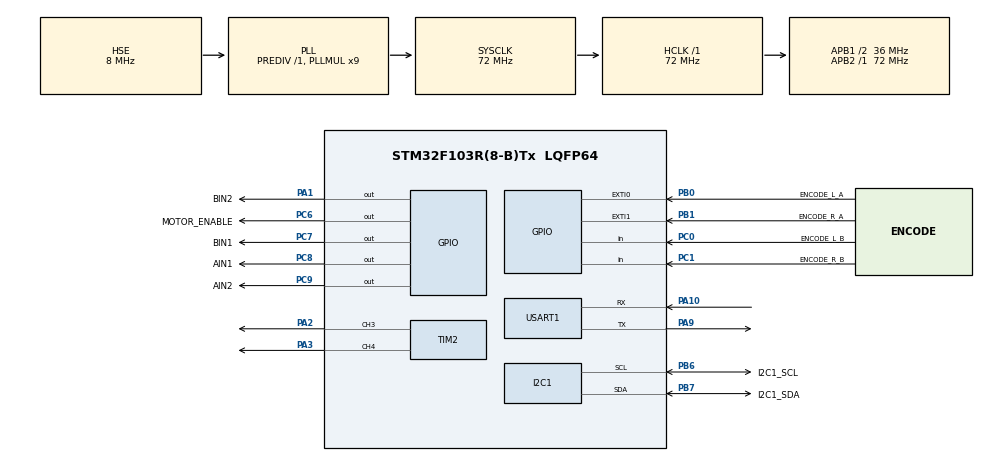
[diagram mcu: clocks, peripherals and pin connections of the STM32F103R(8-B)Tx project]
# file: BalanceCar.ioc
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Dma.Request0=USART1_RX
Dma.Request1=USART1_TX
Dma.USART1_RX.0.Direction=DMA_PERIPH_TO_MEMORY
Dma.USART1_RX.0.Instance=DMA1_Channel5
Dma.USART1_RX.0.MemDataAlignment=DMA_MDATAALIGN_BYTE
Dma.USART1_RX.0.MemInc=DMA_MINC_ENABLE
Dma.USART1_RX.0.Mode=DMA_NORMAL
Dma.USART1_RX.0.PeriphDataAlignment=DMA_PDATAALIGN_BYTE
Dma.USART1_RX.0.PeriphInc=DMA_PINC_DISABLE
Dma.USART1_RX.0.Priority=DMA_PRIORITY_LOW
Dma.USART1_TX.1.Direction=DMA_MEMORY_TO_PERIPH
Dma.USART1_TX.1.Instance=DMA1_Channel4
Dma.USART1_TX.1.MemDataAlignment=DMA_MDATAALIGN_BYTE
Dma.USART1_TX.1.MemInc=DMA_MINC_ENABLE
Dma.USART1_TX.1.Mode=DMA_NORMAL
Dma.USART1_TX.1.PeriphDataAlignment=DMA_PDATAALIGN_BYTE
Dma.USART1_TX.1.PeriphInc=DMA_PINC_DISABLE
Dma.USART1_TX.1.Priority=DMA_PRIORITY_LOW
FREERTOS.Tasks01=defaultTask,24,128,StartDefaultTask,Default,NULL,Dynamic,NULL,NULL;myTask02,8,128,StartTask02,Default,NULL,Dynamic,NULL,NULL;myTask03,8,128,StartTask03,Default,NULL,Dynamic,NULL,NULL
I2C1.I2C_Mode=I2C_Fast
Mcu.Family=STM32F1
Mcu.Name=STM32F103R(8-B)Tx
Mcu.Package=LQFP64
NVIC.DMA1_Channel4_IRQn=true\:5\:0\:false\:false\:true\:true\:false\:true\:true
NVIC.DMA1_Channel5_IRQn=true\:5\:0\:false\:false\:true\:true\:false\:true\:true
NVIC.EXTI0_IRQn=true\:5\:0\:false\:false\:true\:false\:true\:true\:true
NVIC.EXTI1_IRQn=true\:5\:0\:false\:false\:true\:false\:true\:true\:true
NVIC.PriorityGroup=NVIC_PRIORITYGROUP_4
NVIC.USART1_IRQn=true\:5\:0\:false\:false\:true\:true\:false\:true\:true
PA1.GPIO_Label=BIN2
PA1.Signal=GPIO_Output
PA10.Mode=Asynchronous
PA10.Signal=USART1_RX
PA13.Mode=Serial_Wire
PA13.Signal=SYS_JTMS-SWDIO
PA14.Mode=Serial_Wire
PA14.Signal=SYS_JTCK-SWCLK
PA2.Signal=S_TIM2_CH3
PA3.Signal=S_TIM2_CH4
PA9.Mode=Asynchronous
PA9.Signal=USART1_TX
PB0.GPIO_Label=ENCODE_L_A
PB0.GPIO_ModeDefaultEXTI=GPIO_MODE_IT_RISING
PB0.Signal=GPXTI0
PB1.GPIO_Label=ENCODE_R_A
PB1.GPIO_ModeDefaultEXTI=GPIO_MODE_IT_RISING
PB1.Signal=GPXTI1
PB6.GPIO_Label=I2C1_SCL
PB6.Mode=I2C
PB6.Signal=I2C1_SCL
PB7.GPIO_Label=I2C1_SDA
PB7.Mode=I2C
PB7.Signal=I2C1_SDA
PC0.GPIO_Label=ENCODE_L_B
PC0.Signal=GPIO_Input
PC1.GPIO_Label=ENCODE_R_B
PC1.Signal=GPIO_Input
PC6.GPIO_Label=MOTOR_ENABLE
PC6.Signal=GPIO_Output
PC7.GPIO_Label=BIN1
PC7.Signal=GPIO_Output
PC8.GPIO_Label=AIN1
PC8.Signal=GPIO_Output
PC9.GPIO_Label=AIN2
PC9.Signal=GPIO_Output
PD0-OSC_IN.Mode=HSE-External-Oscillator
PD0-OSC_IN.Signal=RCC_OSC_IN
PD1-OSC_OUT.Mode=HSE-External-Oscillator
PD1-OSC_OUT.Signal=RCC_OSC_OUT
ProjectManager.HeapSize=0x200
ProjectManager.StackSize=0x400
ProjectManager.TargetToolchain=MDK-ARM V5.32
RCC.AHBFreq_Value=72000000
RCC.APB1CLKDivider=RCC_HCLK_DIV2
RCC.APB1Freq_Value=36000000
RCC.APB1TimFreq_Value=72000000
RCC.APB2Freq_Value=72000000
RCC.APB2TimFreq_Value=72000000
RCC.HCLKFreq_Value=72000000
RCC.PLLMUL=RCC_PLL_MUL9
RCC.PLLSourceVirtual=RCC_PLLSOURCE_HSE
RCC.SYSCLKFreq_VALUE=72000000
RCC.SYSCLKSource=RCC_SYSCLKSOURCE_PLLCLK
RCC.USBFreq_Value=72000000
SH.S_TIM2_CH3.0=TIM2_CH3,PWM Generation3 CH3
SH.S_TIM2_CH4.0=TIM2_CH4,PWM Generation4 CH4
TIM2.Channel-PWM\ Generation3\ CH3=TIM_CHANNEL_3
TIM2.Channel-PWM\ Generation4\ CH4=TIM_CHANNEL_4
USART1.VirtualMode=VM_ASYNC
VP_FREERTOS_VS_CMSIS_V2.Mode=CMSIS_V2
board=custom

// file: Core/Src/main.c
/* USER CODE BEGIN Header */
/**
 ******************************************************************************
 * @file           : main.c
 * @brief          : Main program body
 ******************************************************************************
 * @attention
 *
 * Copyright (c) 2024 STMicroelectronics.
 * All rights reserved.
 *
 * This software is licensed under terms that can be found in the LICENSE file
 * in the root directory of this software component.
 * If no LICENSE file comes with this software, it is provided AS-IS.
 *
 ******************************************************************************
 */
/* USER CODE END Header */
#include "main.h"
#include "cmsis_os.h"
#include "dma.h"
#include "i2c.h"
#include "tim.h"
#include "usart.h"
#include "gpio.h"

/* USER CODE BEGIN Includes */
#include "motor.h"
#include "OLED.h"
#include "mpu6050.h"
/* USER CODE END Includes */

/* USER CODE BEGIN PTD */
extern MPU6050_t MPU6050;

/* USER CODE END PTD */

/* USER CODE BEGIN PM */
// 硬件串口重定向函�?????????
int fputc(int ch, FILE *f)
{
  HAL_UART_Transmit(&huart1, (uint8_t *)&ch, 1, HAL_MAX_DELAY);
  // HAL_UART_Transmit_DMA(&huart1, (uint8_t*)&ch, 1);
  return ch;
}

/*
串口接收中断回调函数
*/
uint8_t Rx_data[200] = {0};
char received_string[256];
extern DMA_HandleTypeDef hdma_usart1_rx;

void HAL_UARTEx_RxEventCallback(UART_HandleTypeDef *huart, uint16_t Size)
{
  if (huart == &huart1)
  {

    strcpy(received_string, (char *)Rx_data);
    fprintf(stdout, "%s\r\n", received_string); // 将串�?????????1接收到的数据返回到串�?????????1
    memset(Rx_data, 0, sizeof(Rx_data));
    HAL_UARTEx_ReceiveToIdle_DMA(huart, Rx_data, sizeof(Rx_data) - 1);
    __HAL_DMA_DISABLE_IT(&hdma_usart1_rx, DMA_IT_HT);
  }
}
void HAL_GPIO_EXTI_Callback(uint16_t GPIO_Pin)
{
  Encoder_EXTI_Callback(GPIO_Pin);
}
/* USER CODE END PM */

void SystemClock_Config(void);
void MX_FREERTOS_Init(void);

int main(void)
{

  /* MCU Configuration--------------------------------------------------------*/

  /* Reset of all peripherals, Initializes the Flash interface and the Systick. */
  HAL_Init();

  /* Configure the system clock */
  SystemClock_Config();

  /* Initialize all configured peripherals */
  MX_GPIO_Init();
  MX_DMA_Init();
  MX_USART1_UART_Init();
  MX_TIM2_Init();
  MX_I2C1_Init();
  /* USER CODE BEGIN 2 */
  OLED_Init();
  // HAL_Delay(1000);
  while (MPU6050_Init(&hi2c1) == 1)
    ;
  motor_init();
  HAL_UARTEx_ReceiveToIdle_DMA(&huart1, Rx_data, 200 - 1); // 启用空闲中断接收
  __HAL_DMA_DISABLE_IT(&hdma_usart1_rx, DMA_IT_HT);        // 关闭DMA传输过半中断
  /* USER CODE END 2 */

  /* Init scheduler */
  osKernelInitialize();

  /* Call init function for freertos objects (in cmsis_os2.c) */
  MX_FREERTOS_Init();

  /* Start scheduler */
  osKernelStart();

  /* We should never get here as control is now taken by the scheduler */

  // /* Infinite loop */
  while (1)
  {

    /* USER CODE BEGIN 3 */
    MPU6050_Read_All(&hi2c1, &MPU6050);
    printf("ax=%.2f, ay=%.2f\n", MPU6050.KalmanAngleX, MPU6050.KalmanAngleY);
    OLED_ShowNum(0, 16, 123, 3, OLED_8X16);
    OLED_Update();
  }
  /* USER CODE END 3 */
}

void SystemClock_Config(void)
{
  RCC_OscInitTypeDef RCC_OscInitStruct = {0};
  RCC_ClkInitTypeDef RCC_ClkInitStruct = {0};

  /** Initializes the RCC Oscillators according to the specified parameters
   * in the RCC_OscInitTypeDef structure.
   */
  RCC_OscInitStruct.OscillatorType = RCC_OSCILLATORTYPE_HSE;
  RCC_OscInitStruct.HSEState = RCC_HSE_ON;
  RCC_OscInitStruct.HSEPredivValue = RCC_HSE_PREDIV_DIV1;
  RCC_OscInitStruct.HSIState = RCC_HSI_ON;
  RCC_OscInitStruct.PLL.PLLState = RCC_PLL_ON;
  RCC_OscInitStruct.PLL.PLLSource = RCC_PLLSOURCE_HSE;
  RCC_OscInitStruct.PLL.PLLMUL = RCC_PLL_MUL9;
  if (HAL_RCC_OscConfig(&RCC_OscInitStruct) != HAL_OK)
  {
    Error_Handler();
  }

  /** Initializes the CPU, AHB and APB buses clocks
   */
  RCC_ClkInitStruct.ClockType = RCC_CLOCKTYPE_HCLK | RCC_CLOCKTYPE_SYSCLK | RCC_CLOCKTYPE_PCLK1 | RCC_CLOCKTYPE_PCLK2;
  RCC_ClkInitStruct.SYSCLKSource = RCC_SYSCLKSOURCE_PLLCLK;
  RCC_ClkInitStruct.AHBCLKDivider = RCC_SYSCLK_DIV1;
  RCC_ClkInitStruct.APB1CLKDivider = RCC_HCLK_DIV2;
  RCC_ClkInitStruct.APB2CLKDivider = RCC_HCLK_DIV1;

  if (HAL_RCC_ClockConfig(&RCC_ClkInitStruct, FLASH_LATENCY_2) != HAL_OK)
  {
    Error_Handler();
  }
}

void Error_Handler(void)
{
  __disable_irq();
  while (1)
  {
  }
}

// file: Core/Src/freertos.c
/* USER CODE BEGIN Header */
/**
 ******************************************************************************
 * File Name          : freertos.c
 * Description        : Code for freertos applications
 ******************************************************************************
 * @attention
 *
 * Copyright (c) 2024 STMicroelectronics.
 * All rights reserved.
 *
 * This software is licensed under terms that can be found in the LICENSE file
 * in the root directory of this software component.
 * If no LICENSE file comes with this software, it is provided AS-IS.
 *
 ******************************************************************************
 */
/* USER CODE END Header */

#include "FreeRTOS.h"
#include "task.h"
#include "main.h"
#include "cmsis_os.h"

/* USER CODE BEGIN Includes */
#include "motor.h"
#include "mpu6050.h"
#include "Control.h"
#include "OLED.h"
/* USER CODE END Includes */

/* USER CODE BEGIN PTD */
extern MPU6050_t MPU6050;

/* USER CODE END PTD */

/* Definitions for defaultTask */
osThreadId_t defaultTaskHandle;
const osThreadAttr_t defaultTask_attributes = {
    .name = "defaultTask",
    .stack_size = 128 * 4,
    .priority = (osPriority_t)osPriorityNormal,
};
/* Definitions for myTask02 */
osThreadId_t myTask02Handle;
const osThreadAttr_t myTask02_attributes = {
    .name = "myTask02",
    .stack_size = 128 * 4,
    .priority = (osPriority_t)osPriorityLow,
};
/* Definitions for myTask03 */
osThreadId_t myTask03Handle;
const osThreadAttr_t myTask03_attributes = {
    .name = "myTask03",
    .stack_size = 128 * 4,
    .priority = (osPriority_t)osPriorityLow,
};

void StartDefaultTask(void *argument);
void StartTask02(void *argument);
void StartTask03(void *argument);

void MX_FREERTOS_Init(void); /* (MISRA C 2004 rule 8.1) */

void MX_FREERTOS_Init(void)
{

  /* Create the thread(s) */
  /* creation of defaultTask */
  defaultTaskHandle = osThreadNew(StartDefaultTask, NULL, &defaultTask_attributes);

  /* creation of myTask02 */
  myTask02Handle = osThreadNew(StartTask02, NULL, &myTask02_attributes);

  /* creation of myTask03 */
  myTask03Handle = osThreadNew(StartTask03, NULL, &myTask03_attributes);

}

/* USER CODE BEGIN Header_StartDefaultTask */

extern MOTOR_Data motor_data;

/**
 * @brief �???????????查剩余内内存
 *
 * @param task
 */
void check_stack_usage(TaskHandle_t task)
{
  UBaseType_t stack_water_mark = uxTaskGetStackHighWaterMark(task);

  printf("Stack high water mark: %u\n", stack_water_mark);
}
/**
 * @brief  Function implementing the defaultTask thread.
 * @param  argument: Not used
 * @retval None
 */
/* USER CODE END Header_StartDefaultTask */
void StartDefaultTask(void *argument)
{
  /* USER CODE BEGIN StartDefaultTask */
  osDelay(1000);
  Set_Motor_Velocity(MOTOR_A, 0);
  Set_Motor_Velocity(MOTOR_B, 0);

  /* Infinite loop */
  for (;;)
  {
    // printf("Hello from defaultTask!\n");
    // printf("Encoder_A_Count: %d, Encoder_B_Count: %d\n", Encoder_A_Count, Encoder_B_Count);

    // printf("roll=%.2f, pitch=%.2f, yaw=%.2f,roll_rate=%.2f,pitch_rate=%.2f,yaw_rate=%.2f,A_count=%d,B_count=%d\n", mpu6050_data.Roll, mpu6050_data.Pitch, mpu6050_data.Yaw, mpu6050_data.RollRate, mpu6050_data.PitchRate, mpu6050_data.YawRate, Encoder_A_Count, Encoder_B_Count);
    mian_control();

    // set_pwm_duty(MOTOR_A, 0);
    // set_pwm_duty(MOTOR_B, 0);

    // osDelay(20);

    osDelay(1);
  }
  /* USER CODE END StartDefaultTask */
}

void StartTask02(void *argument)
{
  /* USER CODE BEGIN StartTask02 */

  // check_stack_usage(myTask02Handle);

  OLED_Init();

  /* Infinite loop */
  for (;;)
  {
    MPU6050_Read_All(&hi2c1, &MPU6050);
    // printf("ax=%.2f, ay=%.2f,gx=%.2f,A_sp=%.2f,B_sp=%.2f\n", MPU6050.KalmanAngleX, MPU6050.KalmanAngleY, MPU6050.Gx, motor_data.Filtered_Velocity_A, motor_data.Filtered_Velocity_B);

    // osDelay(20);

    osDelay(1);
  }
  /* USER CODE END StartTask02 */
}

void StartTask03(void *argument)
{
  /* USER CODE BEGIN StartTask03 */
  motor_data.Filtered_Velocity_A = 0;
  motor_data.Filtered_Velocity_B = 0;
  motor_data.last_Encoder_A_Count = 0;
  motor_data.last_Encoder_B_Count = 0;
  float Filtered_alpha = 0.6f;
  /* Infinite loop */
  for (;;)
  {
    motor_data.Velocity_A = motor_data.Encoder_A_Count - motor_data.last_Encoder_A_Count;
    motor_data.Velocity_B = motor_data.Encoder_B_Count - motor_data.last_Encoder_B_Count;
    motor_data.last_Encoder_A_Count = motor_data.Encoder_A_Count;
    motor_data.last_Encoder_B_Count = motor_data.Encoder_B_Count;
    // printf("Velocity_A: %.2f, Velocity_B: %.2f\n", motor_data.Velocity_A, motor_data.Velocity_B);
    motor_data.Filtered_Velocity_A = Filtered_alpha * motor_data.Velocity_A + (1 - Filtered_alpha) * motor_data.Filtered_Velocity_A;
    motor_data.Filtered_Velocity_B = Filtered_alpha * motor_data.Velocity_B + (1 - Filtered_alpha) * motor_data.Filtered_Velocity_B;
    vTaskDelay(pdMS_TO_TICKS(20));
    osDelay(1);
  }
  /* USER CODE END StartTask03 */
}
